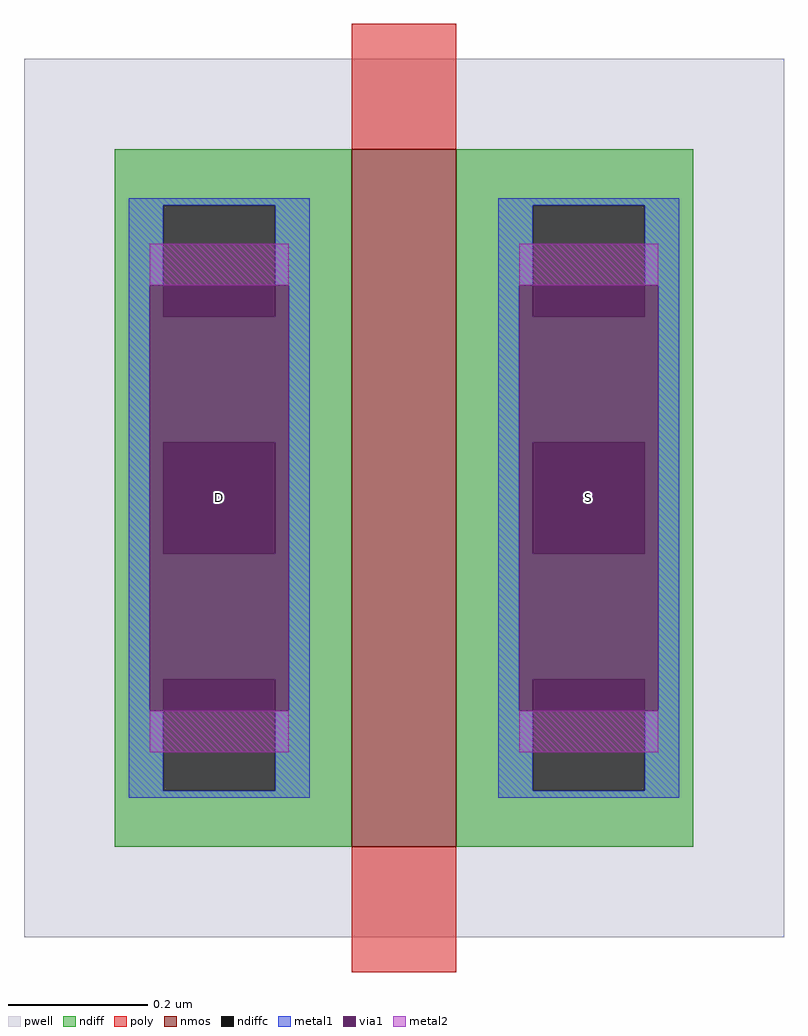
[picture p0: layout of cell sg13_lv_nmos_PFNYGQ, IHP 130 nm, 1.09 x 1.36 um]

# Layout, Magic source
magic
tech ihp-sg13g2
magscale 1 2
<< pwell >>
rect -109 -126 109 126
<< nmos >>
rect -15 -100 15 100
<< ndiff >>
rect -83 84 -15 100
rect -83 52 -69 84
rect -37 52 -15 84
rect -83 16 -15 52
rect -83 -16 -69 16
rect -37 -16 -15 16
rect -83 -52 -15 -16
rect -83 -84 -69 -52
rect -37 -84 -15 -52
rect -83 -100 -15 -84
rect 15 84 83 100
rect 15 52 37 84
rect 69 52 83 84
rect 15 16 83 52
rect 15 -16 37 16
rect 69 -16 83 16
rect 15 -52 83 -16
rect 15 -84 37 -52
rect 69 -84 83 -52
rect 15 -100 83 -84
<< ndiffc >>
rect -69 52 -37 84
rect -69 -16 -37 16
rect -69 -84 -37 -52
rect 37 52 69 84
rect 37 -16 69 16
rect 37 -84 69 -52
<< poly >>
rect -15 100 15 136
rect -15 -136 15 -100
<< metal1 >>
rect -79 84 -27 86
rect -79 61 -69 84
rect -37 61 -27 84
rect -79 -61 -73 61
rect -33 -61 -27 61
rect -79 -84 -69 -61
rect -37 -84 -27 -61
rect -79 -86 -27 -84
rect 27 84 79 86
rect 27 61 37 84
rect 69 61 79 84
rect 27 -61 33 61
rect 73 -61 79 61
rect 27 -84 37 -61
rect 69 -84 79 -61
rect 27 -86 79 -84
<< via1 >>
rect -73 52 -69 61
rect -69 52 -37 61
rect -37 52 -33 61
rect -73 16 -33 52
rect -73 -16 -69 16
rect -69 -16 -37 16
rect -37 -16 -33 16
rect -73 -52 -33 -16
rect -73 -61 -69 -52
rect -69 -61 -37 -52
rect -37 -61 -33 -52
rect 33 52 37 61
rect 37 52 69 61
rect 69 52 73 61
rect 33 16 73 52
rect 33 -16 37 16
rect 37 -16 69 16
rect 69 -16 73 16
rect 33 -52 73 -16
rect 33 -61 37 -52
rect 37 -61 69 -52
rect 69 -61 73 -52
<< metal2 >>
rect -73 61 -33 73
rect -73 -73 -33 -61
rect 33 61 73 73
rect 33 -73 73 -61
<< labels >>
rlabel metal1 s -53 0 -53 0 4 D
rlabel metal1 s 53 0 53 0 4 S
<< end >>
